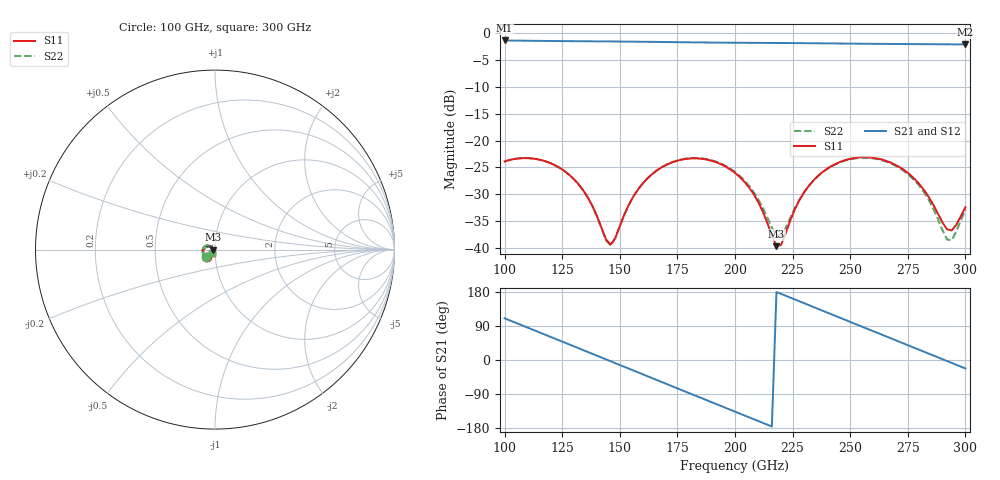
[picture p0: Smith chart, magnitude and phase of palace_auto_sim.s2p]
#  GHZ S DB R 50
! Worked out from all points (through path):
!   101 points, 100 GHz to 300 GHz, reference 50 ohm
!   highest |S21| = -1.38 dB at 100 GHz (marker M1); lowest = -2.1 dB at 300 GHz (marker M2)
!   group delay of S21, straight-line fit = 6.84 ps
!   lowest |S11| = -39.6 dB at 218 GHz (marker M3), VSWR 1.02, Z = 49 + j0.00918 ohm
!   |S11| at or under -10 dB: start of sweep to end of sweep
!   |S22| runs from -39.5 to -23.2 dB; largest |S21 - S12| = 9.7e-14
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100  -23.88 -137.7  -1.38 110.1  -1.38 110.1  -23.89 -138.0
108  -23.27 -156.0  -1.43 90.4  -1.43 90.4  -23.27 -156.3
116  -23.65 -174.0  -1.47 70.7  -1.47 70.7  -23.65 -174.2
126  -25.68 165.0  -1.50 46.1  -1.50 46.1  -25.68 164.8
134  -29.19 152.1  -1.53 26.4  -1.53 26.4  -29.21 151.9
146  -39.37 -162.9  -1.57 -3.2  -1.57 -3.2  -39.53 -162.3
156  -30.34 -119.1  -1.61 -28.0  -1.61 -28.0  -30.31 -118.4
168  -25.04 -137.6  -1.67 -57.6  -1.67 -57.6  -24.99 -136.9
184  -23.33 -171.3  -1.75 -97.0  -1.75 -97.0  -23.26 -170.4
200  -26.02 155.8  -1.81 -136.3  -1.81 -136.3  -25.85 157.7
210  -31.36 143.1  -1.83 -160.8  -1.83 -160.8  -30.89 146.7
218  -39.65 179.5  -1.85 179.5  -1.85 179.5  -37.68 178.7
220  -39.40 -153.2  -1.86 174.5  -1.86 174.5  -37.71 -160.2
228  -31.06 -121.5  -1.88 154.8  -1.88 154.8  -30.95 -127.6
234  -27.44 -127.6  -1.90 140.0  -1.90 140.0  -27.46 -132.0
244  -24.27 -145.6  -1.94 115.3  -1.94 115.3  -24.34 -148.8
252  -23.24 -161.7  -1.98 95.7  -1.98 95.7  -23.32 -164.7
268  -24.18 166.3  -2.04 56.4  -2.04 56.4  -24.32 163.0
282  -29.18 146.4  -2.07 22.0  -2.07 22.0  -29.57 141.5
292  -36.50 174.6  -2.10 -2.7  -2.10 -2.7  -38.38 172.3
294  -36.72 -167.3  -2.10 -7.6  -2.10 -7.6  -38.55 -164.1
300  -32.42 -135.6  -2.12 -22.4  -2.12 -22.4  -32.88 -130.1
